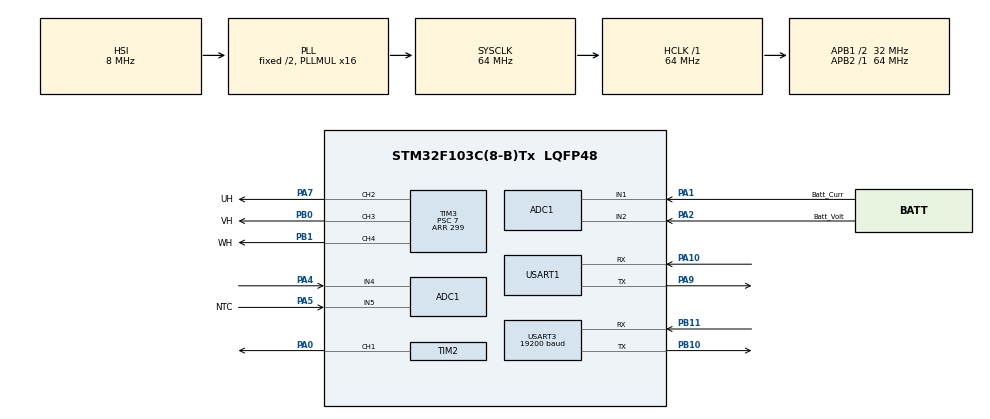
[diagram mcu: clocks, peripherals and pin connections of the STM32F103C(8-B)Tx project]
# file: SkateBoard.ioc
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ADC1.Channel-1\#ChannelRegularConversion=ADC_CHANNEL_1
ADC1.Channel-2\#ChannelRegularConversion=ADC_CHANNEL_2
ADC1.Channel-3\#ChannelRegularConversion=ADC_CHANNEL_4
ADC1.Channel-4\#ChannelRegularConversion=ADC_CHANNEL_5
ADC1.ContinuousConvMode=ENABLE
ADC1.DataAlign=ADC_DATAALIGN_RIGHT
ADC1.NbrOfConversion=4
ADC1.NbrOfConversionFlag=1
ADC1.Rank-1\#ChannelRegularConversion=1
ADC1.Rank-2\#ChannelRegularConversion=2
ADC1.Rank-3\#ChannelRegularConversion=3
ADC1.Rank-4\#ChannelRegularConversion=4
ADC1.SamplingTime-1\#ChannelRegularConversion=ADC_SAMPLETIME_1CYCLE_5
ADC1.SamplingTime-2\#ChannelRegularConversion=ADC_SAMPLETIME_1CYCLE_5
ADC1.SamplingTime-3\#ChannelRegularConversion=ADC_SAMPLETIME_1CYCLE_5
ADC1.SamplingTime-4\#ChannelRegularConversion=ADC_SAMPLETIME_1CYCLE_5
ADC1.master=1
Dma.ADC1.4.Direction=DMA_PERIPH_TO_MEMORY
Dma.ADC1.4.Instance=DMA1_Channel1
Dma.ADC1.4.MemDataAlignment=DMA_MDATAALIGN_HALFWORD
Dma.ADC1.4.MemInc=DMA_MINC_ENABLE
Dma.ADC1.4.Mode=DMA_CIRCULAR
Dma.ADC1.4.PeriphDataAlignment=DMA_PDATAALIGN_HALFWORD
Dma.ADC1.4.PeriphInc=DMA_PINC_DISABLE
Dma.ADC1.4.Priority=DMA_PRIORITY_LOW
Dma.Request0=USART1_RX
Dma.Request1=USART1_TX
Dma.Request2=USART3_RX
Dma.Request3=USART3_TX
Dma.Request4=ADC1
Dma.USART1_RX.0.Direction=DMA_PERIPH_TO_MEMORY
Dma.USART1_RX.0.Instance=DMA1_Channel5
Dma.USART1_RX.0.MemDataAlignment=DMA_MDATAALIGN_BYTE
Dma.USART1_RX.0.MemInc=DMA_MINC_ENABLE
Dma.USART1_RX.0.Mode=DMA_CIRCULAR
Dma.USART1_RX.0.PeriphDataAlignment=DMA_PDATAALIGN_BYTE
Dma.USART1_RX.0.PeriphInc=DMA_PINC_DISABLE
Dma.USART1_RX.0.Priority=DMA_PRIORITY_LOW
Dma.USART1_TX.1.Direction=DMA_MEMORY_TO_PERIPH
Dma.USART1_TX.1.Instance=DMA1_Channel4
Dma.USART1_TX.1.MemDataAlignment=DMA_MDATAALIGN_BYTE
Dma.USART1_TX.1.MemInc=DMA_MINC_ENABLE
Dma.USART1_TX.1.Mode=DMA_NORMAL
Dma.USART1_TX.1.PeriphDataAlignment=DMA_PDATAALIGN_BYTE
Dma.USART1_TX.1.PeriphInc=DMA_PINC_DISABLE
Dma.USART1_TX.1.Priority=DMA_PRIORITY_LOW
Dma.USART3_RX.2.Direction=DMA_PERIPH_TO_MEMORY
Dma.USART3_RX.2.Instance=DMA1_Channel3
Dma.USART3_RX.2.MemDataAlignment=DMA_MDATAALIGN_BYTE
Dma.USART3_RX.2.MemInc=DMA_MINC_ENABLE
Dma.USART3_RX.2.Mode=DMA_CIRCULAR
Dma.USART3_RX.2.PeriphDataAlignment=DMA_PDATAALIGN_BYTE
Dma.USART3_RX.2.PeriphInc=DMA_PINC_DISABLE
Dma.USART3_RX.2.Priority=DMA_PRIORITY_LOW
Dma.USART3_TX.3.Direction=DMA_MEMORY_TO_PERIPH
Dma.USART3_TX.3.Instance=DMA1_Channel2
Dma.USART3_TX.3.MemDataAlignment=DMA_MDATAALIGN_BYTE
Dma.USART3_TX.3.MemInc=DMA_MINC_ENABLE
Dma.USART3_TX.3.Mode=DMA_NORMAL
Dma.USART3_TX.3.PeriphDataAlignment=DMA_PDATAALIGN_BYTE
Dma.USART3_TX.3.PeriphInc=DMA_PINC_DISABLE
Dma.USART3_TX.3.Priority=DMA_PRIORITY_LOW
Mcu.Family=STM32F1
Mcu.Name=STM32F103C(8-B)Tx
Mcu.Package=LQFP48
NVIC.DMA1_Channel1_IRQn=true\:0\:0\:false\:false\:true\:false\:true\:true
NVIC.DMA1_Channel2_IRQn=true\:0\:0\:false\:false\:true\:false\:true\:true
NVIC.DMA1_Channel3_IRQn=true\:0\:0\:false\:false\:true\:false\:true\:true
NVIC.DMA1_Channel4_IRQn=true\:0\:0\:false\:false\:true\:false\:true\:true
NVIC.DMA1_Channel5_IRQn=true\:0\:0\:false\:false\:true\:false\:true\:true
NVIC.PriorityGroup=NVIC_PRIORITYGROUP_4
NVIC.USART1_IRQn=true\:1\:0\:true\:false\:true\:true\:true\:true
NVIC.USART3_IRQn=true\:1\:0\:true\:false\:true\:true\:true\:true
PA0-WKUP.Signal=S_TIM2_CH1_ETR
PA1.GPIO_Label=Batt_Curr
PA1.Signal=ADCx_IN1
PA10.Mode=Asynchronous
PA10.Signal=USART1_RX
PA13.Mode=Serial_Wire
PA13.Signal=SYS_JTMS-SWDIO
PA14.Mode=Serial_Wire
PA14.Signal=SYS_JTCK-SWCLK
PA2.GPIO_Label=Batt_Volt
PA2.Signal=ADCx_IN2
PA4.Signal=ADCx_IN4
PA5.GPIO_Label=NTC
PA5.Signal=ADCx_IN5
PA7.GPIO_Label=UH
PA7.Signal=S_TIM3_CH2
PA9.Mode=Asynchronous
PA9.Signal=USART1_TX
PB0.GPIO_Label=VH
PB0.Signal=S_TIM3_CH3
PB1.GPIO_Label=WH
PB1.Signal=S_TIM3_CH4
PB10.Mode=Asynchronous
PB10.Signal=USART3_TX
PB11.Mode=Asynchronous
PB11.Signal=USART3_RX
ProjectManager.HeapSize=0x200
ProjectManager.StackSize=0x400
ProjectManager.TargetToolchain=MDK-ARM V5.32
RCC.ADCPresc=RCC_ADCPCLK2_DIV6
RCC.AHBFreq_Value=64000000
RCC.APB1CLKDivider=RCC_HCLK_DIV2
RCC.APB1Freq_Value=32000000
RCC.APB1TimFreq_Value=64000000
RCC.APB2Freq_Value=64000000
RCC.APB2TimFreq_Value=64000000
RCC.HCLKFreq_Value=64000000
RCC.PLLMUL=RCC_PLL_MUL16
RCC.SYSCLKFreq_VALUE=64000000
RCC.SYSCLKSource=RCC_SYSCLKSOURCE_PLLCLK
RCC.USBFreq_Value=64000000
SH.ADCx_IN1.0=ADC1_IN1,IN1
SH.ADCx_IN2.0=ADC1_IN2,IN2
SH.ADCx_IN4.0=ADC1_IN4,IN4
SH.ADCx_IN5.0=ADC1_IN5,IN5
SH.S_TIM2_CH1_ETR.0=TIM2_CH1,PWM Generation1 CH1
SH.S_TIM3_CH2.0=TIM3_CH2,PWM Generation2 CH2
SH.S_TIM3_CH3.0=TIM3_CH3,PWM Generation3 CH3
SH.S_TIM3_CH4.0=TIM3_CH4,PWM Generation4 CH4
TIM2.Channel-PWM\ Generation1\ CH1=TIM_CHANNEL_1
TIM2.Period=99
TIM2.Prescaler=30
TIM3.Channel-PWM\ Generation2\ CH2=TIM_CHANNEL_2
TIM3.Channel-PWM\ Generation3\ CH3=TIM_CHANNEL_3
TIM3.Channel-PWM\ Generation4\ CH4=TIM_CHANNEL_4
TIM3.Period=299
TIM3.Prescaler=7
TIM4.Period=9
TIM4.Prescaler=6399
USART1.VirtualMode=VM_ASYNC
USART3.BaudRate=19200
USART3.VirtualMode=VM_ASYNC
VP_TIM2_VS_ClockSourceINT.Mode=Internal
VP_TIM4_VS_ClockSourceINT.Mode=Internal
board=custom

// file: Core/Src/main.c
/* USER CODE BEGIN Header */
/**
  ******************************************************************************
  * @file           : main.c
  * @brief          : Main program body
  ******************************************************************************
  * @attention
  *
  * Copyright (c) 2026 STMicroelectronics.
  * All rights reserved.
  *
  * This software is licensed under terms that can be found in the LICENSE file
  * in the root directory of this software component.
  * If no LICENSE file comes with this software, it is provided AS-IS.
  *
  ******************************************************************************
  */
/* USER CODE END Header */
#include "main.h"

/* USER CODE BEGIN Includes */
#include "app_task.h"
/* USER CODE END Includes */

/* USER CODE BEGIN PD */
/* Set to 1 to bypass NTP and watchdog (use when remote controller not connected) */
#define UART3_LOCAL_TEST_MODE         1
/* Set to 1 to skip NTC temperature reads and fix temperature at 25 °C */
#define DISABLE_TEMPERATURE_SENSOR    1
/* USER CODE END PD */

ADC_HandleTypeDef hadc1;
DMA_HandleTypeDef hdma_adc1;

TIM_HandleTypeDef htim2;
TIM_HandleTypeDef htim3;
TIM_HandleTypeDef htim4;

UART_HandleTypeDef huart1;
UART_HandleTypeDef huart3;
DMA_HandleTypeDef hdma_usart1_rx;
DMA_HandleTypeDef hdma_usart1_tx;
DMA_HandleTypeDef hdma_usart3_rx;
DMA_HandleTypeDef hdma_usart3_tx;

/* USER CODE BEGIN PV */
/* All application variables are defined in app_task.c */
/* USER CODE END PV */

void SystemClock_Config(void);
static void MX_GPIO_Init(void);
static void MX_DMA_Init(void);
static void MX_USART1_UART_Init(void);
static void MX_USART3_UART_Init(void);
static void MX_ADC1_Init(void);
static void MX_TIM2_Init(void);
static void MX_TIM3_Init(void);
static void MX_TIM4_Init(void);
/* USER CODE BEGIN PFP */
/* All application logic is in app_task.c */
/* USER CODE END PFP */

/* USER CODE BEGIN 0 */
/* All application logic moved to app_task.c */
/* USER CODE END 0 */

int main(void)
{

  /* MCU Configuration--------------------------------------------------------*/

  /* Reset of all peripherals, Initializes the Flash interface and the Systick. */
  HAL_Init();

  /* Configure the system clock */
  SystemClock_Config();

  /* Initialize all configured peripherals */
  MX_GPIO_Init();
  MX_DMA_Init();
  MX_USART1_UART_Init();
  MX_USART3_UART_Init();
  MX_ADC1_Init();
  MX_TIM2_Init();
  MX_TIM3_Init();
  MX_TIM4_Init();
  /* USER CODE BEGIN 2 */
  App_Task_Init();
  /* USER CODE END 2 */

  /* Infinite loop */
  while (1)
  {

    /* USER CODE BEGIN 3 */
    App_Task_Tick();
  }
  /* USER CODE END 3 */
}

void SystemClock_Config(void)
{
  RCC_OscInitTypeDef RCC_OscInitStruct = {0};
  RCC_ClkInitTypeDef RCC_ClkInitStruct = {0};
  RCC_PeriphCLKInitTypeDef PeriphClkInit = {0};

  /** Initializes the RCC Oscillators according to the specified parameters
  * in the RCC_OscInitTypeDef structure.
  */
  RCC_OscInitStruct.OscillatorType = RCC_OSCILLATORTYPE_HSI;
  RCC_OscInitStruct.HSIState = RCC_HSI_ON;
  RCC_OscInitStruct.HSICalibrationValue = RCC_HSICALIBRATION_DEFAULT;
  RCC_OscInitStruct.PLL.PLLState = RCC_PLL_ON;
  RCC_OscInitStruct.PLL.PLLSource = RCC_PLLSOURCE_HSI_DIV2;
  RCC_OscInitStruct.PLL.PLLMUL = RCC_PLL_MUL16;
  if (HAL_RCC_OscConfig(&RCC_OscInitStruct) != HAL_OK)
  {
    Error_Handler();
  }

  /** Initializes the CPU, AHB and APB buses clocks
  */
  RCC_ClkInitStruct.ClockType = RCC_CLOCKTYPE_HCLK|RCC_CLOCKTYPE_SYSCLK
                              |RCC_CLOCKTYPE_PCLK1|RCC_CLOCKTYPE_PCLK2;
  RCC_ClkInitStruct.SYSCLKSource = RCC_SYSCLKSOURCE_PLLCLK;
  RCC_ClkInitStruct.AHBCLKDivider = RCC_SYSCLK_DIV1;
  RCC_ClkInitStruct.APB1CLKDivider = RCC_HCLK_DIV2;
  RCC_ClkInitStruct.APB2CLKDivider = RCC_HCLK_DIV1;

  if (HAL_RCC_ClockConfig(&RCC_ClkInitStruct, FLASH_LATENCY_2) != HAL_OK)
  {
    Error_Handler();
  }
  PeriphClkInit.PeriphClockSelection = RCC_PERIPHCLK_ADC;
  PeriphClkInit.AdcClockSelection = RCC_ADCPCLK2_DIV6;
  if (HAL_RCCEx_PeriphCLKConfig(&PeriphClkInit) != HAL_OK)
  {
    Error_Handler();
  }
}

static void MX_ADC1_Init(void)
{

  ADC_ChannelConfTypeDef sConfig = {0};

  /** Common config
  */
  hadc1.Instance = ADC1;
  hadc1.Init.ScanConvMode = ADC_SCAN_ENABLE;
  hadc1.Init.ContinuousConvMode = ENABLE;
  hadc1.Init.DiscontinuousConvMode = DISABLE;
  hadc1.Init.ExternalTrigConv = ADC_SOFTWARE_START;
  hadc1.Init.DataAlign = ADC_DATAALIGN_RIGHT;
  hadc1.Init.NbrOfConversion = 4;
  if (HAL_ADC_Init(&hadc1) != HAL_OK)
  {
    Error_Handler();
  }

  /** Configure Regular Channel
  */
  sConfig.Channel = ADC_CHANNEL_1;
  sConfig.Rank = ADC_REGULAR_RANK_1;
  sConfig.SamplingTime = ADC_SAMPLETIME_1CYCLE_5;
  if (HAL_ADC_ConfigChannel(&hadc1, &sConfig) != HAL_OK)
  {
    Error_Handler();
  }

  /** Configure Regular Channel
  */
  sConfig.Channel = ADC_CHANNEL_2;
  sConfig.Rank = ADC_REGULAR_RANK_2;
  if (HAL_ADC_ConfigChannel(&hadc1, &sConfig) != HAL_OK)
  {
    Error_Handler();
  }

  /** Configure Regular Channel
  */
  sConfig.Channel = ADC_CHANNEL_4;
  sConfig.Rank = ADC_REGULAR_RANK_3;
  if (HAL_ADC_ConfigChannel(&hadc1, &sConfig) != HAL_OK)
  {
    Error_Handler();
  }

  /** Configure Regular Channel
  */
  sConfig.Channel = ADC_CHANNEL_5;
  sConfig.Rank = ADC_REGULAR_RANK_4;
  if (HAL_ADC_ConfigChannel(&hadc1, &sConfig) != HAL_OK)
  {
    Error_Handler();
  }
  /* USER CODE BEGIN ADC1_Init 2 */
  /* CubeMX generates wrong channel/rank order �? override here.
   * Sequence must match adc_values[]: [0]=current(CH1/PA1)  [1]=battery(CH2/PA2)
   *                                    [2]=PA4(CH4)          [3]=NTC(CH5/PA5)    */
  {
    ADC_ChannelConfTypeDef sc = {0};
    sc.SamplingTime = ADC_SAMPLETIME_55CYCLES_5;
    sc.Channel = ADC_CHANNEL_1; sc.Rank = ADC_REGULAR_RANK_1;
    if (HAL_ADC_ConfigChannel(&hadc1, &sc) != HAL_OK) { Error_Handler(); }
    sc.Channel = ADC_CHANNEL_2; sc.Rank = ADC_REGULAR_RANK_2;
    if (HAL_ADC_ConfigChannel(&hadc1, &sc) != HAL_OK) { Error_Handler(); }
    sc.Channel = ADC_CHANNEL_4; sc.Rank = ADC_REGULAR_RANK_3;
    if (HAL_ADC_ConfigChannel(&hadc1, &sc) != HAL_OK) { Error_Handler(); }
    sc.Channel = ADC_CHANNEL_5; sc.Rank = ADC_REGULAR_RANK_4;
    if (HAL_ADC_ConfigChannel(&hadc1, &sc) != HAL_OK) { Error_Handler(); }
  }
  /* USER CODE END ADC1_Init 2 */

}

static void MX_TIM2_Init(void)
{

  TIM_ClockConfigTypeDef sClockSourceConfig = {0};
  TIM_MasterConfigTypeDef sMasterConfig = {0};
  TIM_OC_InitTypeDef sConfigOC = {0};

  htim2.Instance = TIM2;
  htim2.Init.Prescaler = 30;
  htim2.Init.CounterMode = TIM_COUNTERMODE_UP;
  htim2.Init.Period = 99;
  htim2.Init.ClockDivision = TIM_CLOCKDIVISION_DIV1;
  htim2.Init.AutoReloadPreload = TIM_AUTORELOAD_PRELOAD_DISABLE;
  if (HAL_TIM_Base_Init(&htim2) != HAL_OK)
  {
    Error_Handler();
  }
  sClockSourceConfig.ClockSource = TIM_CLOCKSOURCE_INTERNAL;
  if (HAL_TIM_ConfigClockSource(&htim2, &sClockSourceConfig) != HAL_OK)
  {
    Error_Handler();
  }
  if (HAL_TIM_PWM_Init(&htim2) != HAL_OK)
  {
    Error_Handler();
  }
  sMasterConfig.MasterOutputTrigger = TIM_TRGO_RESET;
  sMasterConfig.MasterSlaveMode = TIM_MASTERSLAVEMODE_DISABLE;
  if (HAL_TIMEx_MasterConfigSynchronization(&htim2, &sMasterConfig) != HAL_OK)
  {
    Error_Handler();
  }
  sConfigOC.OCMode = TIM_OCMODE_PWM1;
  sConfigOC.Pulse = 0;
  sConfigOC.OCPolarity = TIM_OCPOLARITY_HIGH;
  sConfigOC.OCFastMode = TIM_OCFAST_DISABLE;
  if (HAL_TIM_PWM_ConfigChannel(&htim2, &sConfigOC, TIM_CHANNEL_1) != HAL_OK)
  {
    Error_Handler();
  }
  HAL_TIM_MspPostInit(&htim2);

}

static void MX_TIM3_Init(void)
{

  TIM_MasterConfigTypeDef sMasterConfig = {0};
  TIM_OC_InitTypeDef sConfigOC = {0};

  htim3.Instance = TIM3;
  htim3.Init.Prescaler = 7;
  htim3.Init.CounterMode = TIM_COUNTERMODE_UP;
  htim3.Init.Period = 299;
  htim3.Init.ClockDivision = TIM_CLOCKDIVISION_DIV1;
  htim3.Init.AutoReloadPreload = TIM_AUTORELOAD_PRELOAD_DISABLE;
  if (HAL_TIM_PWM_Init(&htim3) != HAL_OK)
  {
    Error_Handler();
  }
  sMasterConfig.MasterOutputTrigger = TIM_TRGO_RESET;
  sMasterConfig.MasterSlaveMode = TIM_MASTERSLAVEMODE_DISABLE;
  if (HAL_TIMEx_MasterConfigSynchronization(&htim3, &sMasterConfig) != HAL_OK)
  {
    Error_Handler();
  }
  sConfigOC.OCMode = TIM_OCMODE_PWM1;
  sConfigOC.Pulse = 0;
  sConfigOC.OCPolarity = TIM_OCPOLARITY_HIGH;
  sConfigOC.OCFastMode = TIM_OCFAST_DISABLE;
  if (HAL_TIM_PWM_ConfigChannel(&htim3, &sConfigOC, TIM_CHANNEL_2) != HAL_OK)
  {
    Error_Handler();
  }
  if (HAL_TIM_PWM_ConfigChannel(&htim3, &sConfigOC, TIM_CHANNEL_3) != HAL_OK)
  {
    Error_Handler();
  }
  if (HAL_TIM_PWM_ConfigChannel(&htim3, &sConfigOC, TIM_CHANNEL_4) != HAL_OK)
  {
    Error_Handler();
  }
  HAL_TIM_MspPostInit(&htim3);

}

static void MX_TIM4_Init(void)
{

  TIM_ClockConfigTypeDef sClockSourceConfig = {0};
  TIM_MasterConfigTypeDef sMasterConfig = {0};

  htim4.Instance = TIM4;
  htim4.Init.Prescaler = 6399;
  htim4.Init.CounterMode = TIM_COUNTERMODE_UP;
  htim4.Init.Period = 9;
  htim4.Init.ClockDivision = TIM_CLOCKDIVISION_DIV1;
  htim4.Init.AutoReloadPreload = TIM_AUTORELOAD_PRELOAD_DISABLE;
  if (HAL_TIM_Base_Init(&htim4) != HAL_OK)
  {
    Error_Handler();
  }
  sClockSourceConfig.ClockSource = TIM_CLOCKSOURCE_INTERNAL;
  if (HAL_TIM_ConfigClockSource(&htim4, &sClockSourceConfig) != HAL_OK)
  {
    Error_Handler();
  }
  sMasterConfig.MasterOutputTrigger = TIM_TRGO_RESET;
  sMasterConfig.MasterSlaveMode = TIM_MASTERSLAVEMODE_DISABLE;
  if (HAL_TIMEx_MasterConfigSynchronization(&htim4, &sMasterConfig) != HAL_OK)
  {
    Error_Handler();
  }

}

static void MX_USART1_UART_Init(void)
{

  huart1.Instance = USART1;
  huart1.Init.BaudRate = 115200;
  huart1.Init.WordLength = UART_WORDLENGTH_8B;
  huart1.Init.StopBits = UART_STOPBITS_1;
  huart1.Init.Parity = UART_PARITY_NONE;
  huart1.Init.Mode = UART_MODE_TX_RX;
  huart1.Init.HwFlowCtl = UART_HWCONTROL_NONE;
  huart1.Init.OverSampling = UART_OVERSAMPLING_16;
  if (HAL_UART_Init(&huart1) != HAL_OK)
  {
    Error_Handler();
  }

}

static void MX_USART3_UART_Init(void)
{

  huart3.Instance = USART3;
  huart3.Init.BaudRate = 19200;
  huart3.Init.WordLength = UART_WORDLENGTH_8B;
  huart3.Init.StopBits = UART_STOPBITS_1;
  huart3.Init.Parity = UART_PARITY_NONE;
  huart3.Init.Mode = UART_MODE_TX_RX;
  huart3.Init.HwFlowCtl = UART_HWCONTROL_NONE;
  huart3.Init.OverSampling = UART_OVERSAMPLING_16;
  if (HAL_UART_Init(&huart3) != HAL_OK)
  {
    Error_Handler();
  }

}

static void MX_DMA_Init(void)
{

  /* DMA controller clock enable */
  __HAL_RCC_DMA1_CLK_ENABLE();

  /* DMA interrupt init */
  /* DMA1_Channel1_IRQn interrupt configuration */
  HAL_NVIC_SetPriority(DMA1_Channel1_IRQn, 0, 0);
  HAL_NVIC_EnableIRQ(DMA1_Channel1_IRQn);
  /* DMA1_Channel2_IRQn interrupt configuration */
  HAL_NVIC_SetPriority(DMA1_Channel2_IRQn, 0, 0);
  HAL_NVIC_EnableIRQ(DMA1_Channel2_IRQn);
  /* DMA1_Channel3_IRQn interrupt configuration */
  HAL_NVIC_SetPriority(DMA1_Channel3_IRQn, 0, 0);
  HAL_NVIC_EnableIRQ(DMA1_Channel3_IRQn);
  /* DMA1_Channel4_IRQn interrupt configuration */
  HAL_NVIC_SetPriority(DMA1_Channel4_IRQn, 0, 0);
  HAL_NVIC_EnableIRQ(DMA1_Channel4_IRQn);
  /* DMA1_Channel5_IRQn interrupt configuration */
  HAL_NVIC_SetPriority(DMA1_Channel5_IRQn, 0, 0);
  HAL_NVIC_EnableIRQ(DMA1_Channel5_IRQn);

}

static void MX_GPIO_Init(void)
{

  /* GPIO Ports Clock Enable */
  __HAL_RCC_GPIOA_CLK_ENABLE();
  __HAL_RCC_GPIOB_CLK_ENABLE();

}

void Error_Handler(void)
{
  __disable_irq();
  while (1)
  {
  }
}
